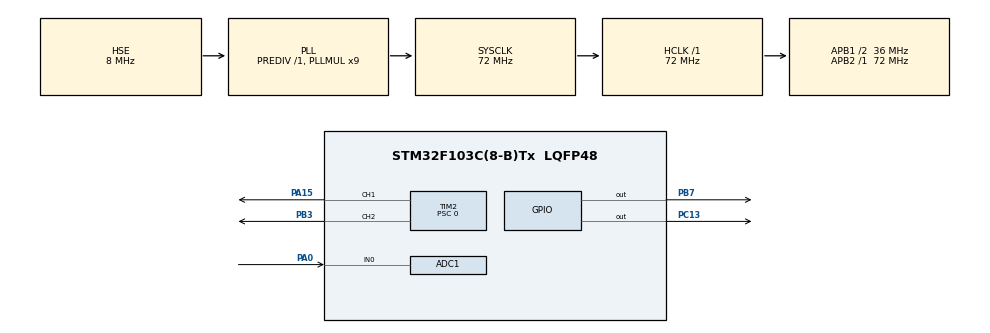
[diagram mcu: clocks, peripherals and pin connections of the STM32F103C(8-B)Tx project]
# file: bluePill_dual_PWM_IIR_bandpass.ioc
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ADC1.Channel-1\#ChannelRegularConversion=ADC_CHANNEL_0
ADC1.ExternalTrigConv=ADC_EXTERNALTRIGCONV_T3_TRGO
ADC1.NbrOfConversionFlag=1
ADC1.Rank-1\#ChannelRegularConversion=1
ADC1.SamplingTime-1\#ChannelRegularConversion=ADC_SAMPLETIME_71CYCLES_5
ADC1.master=1
Dma.ADC1.0.Direction=DMA_PERIPH_TO_MEMORY
Dma.ADC1.0.Instance=DMA1_Channel1
Dma.ADC1.0.MemDataAlignment=DMA_MDATAALIGN_HALFWORD
Dma.ADC1.0.MemInc=DMA_MINC_ENABLE
Dma.ADC1.0.Mode=DMA_CIRCULAR
Dma.ADC1.0.PeriphDataAlignment=DMA_PDATAALIGN_HALFWORD
Dma.ADC1.0.PeriphInc=DMA_PINC_DISABLE
Dma.ADC1.0.Priority=DMA_PRIORITY_LOW
Dma.Request0=ADC1
Mcu.Family=STM32F1
Mcu.Name=STM32F103C(8-B)Tx
Mcu.Package=LQFP48
NVIC.DMA1_Channel1_IRQn=true\:1\:0\:true\:false\:true\:false\:true\:true
NVIC.PriorityGroup=NVIC_PRIORITYGROUP_4
NVIC.TIM3_IRQn=true\:14\:0\:true\:false\:true\:true\:true\:true
PA0-WKUP.Signal=ADCx_IN0
PA13.Mode=Serial_Wire
PA13.Signal=SYS_JTMS-SWDIO
PA14.Mode=Serial_Wire
PA14.Signal=SYS_JTCK-SWCLK
PA15.Signal=S_TIM2_CH1_ETR
PB3.Signal=S_TIM2_CH2
PB7.Signal=GPIO_Output
PC13-TAMPER-RTC.Signal=GPIO_Output
PC14-OSC32_IN.Mode=LSE-External-Oscillator
PC14-OSC32_IN.Signal=RCC_OSC32_IN
PC15-OSC32_OUT.Mode=LSE-External-Oscillator
PC15-OSC32_OUT.Signal=RCC_OSC32_OUT
PD0-OSC_IN.Mode=HSE-External-Oscillator
PD0-OSC_IN.Signal=RCC_OSC_IN
PD1-OSC_OUT.Mode=HSE-External-Oscillator
PD1-OSC_OUT.Signal=RCC_OSC_OUT
ProjectManager.HeapSize=0x200
ProjectManager.StackSize=0x400
ProjectManager.TargetToolchain=STM32CubeIDE
RCC.ADCPresc=RCC_ADCPCLK2_DIV6
RCC.AHBFreq_Value=72000000
RCC.APB1CLKDivider=RCC_HCLK_DIV2
RCC.APB1Freq_Value=36000000
RCC.APB1TimFreq_Value=72000000
RCC.APB2Freq_Value=72000000
RCC.APB2TimFreq_Value=72000000
RCC.HCLKFreq_Value=72000000
RCC.PLLMUL=RCC_PLL_MUL9
RCC.PLLSourceVirtual=RCC_PLLSOURCE_HSE
RCC.SYSCLKFreq_VALUE=72000000
RCC.SYSCLKSource=RCC_SYSCLKSOURCE_PLLCLK
RCC.USBFreq_Value=48000000
RCC.USBPrescaler=RCC_USBCLKSOURCE_PLL_DIV1_5
SH.ADCx_IN0.0=ADC1_IN0,IN0
SH.S_TIM2_CH1_ETR.0=TIM2_CH1,PWM Generation1 CH1
SH.S_TIM2_CH2.0=TIM2_CH2,PWM Generation2 CH2
TIM2.Channel-PWM\ Generation1\ CH1=TIM_CHANNEL_1
TIM2.Channel-PWM\ Generation2\ CH2=TIM_CHANNEL_2
TIM2.Period=63
TIM2.Prescaler=0
TIM2.Pulse-PWM\ Generation1\ CH1=0
TIM2.TIM_MasterOutputTrigger=TIM_TRGO_RESET
TIM3.Channel-PWM\ Generation1\ No\ Output=TIM_CHANNEL_1
TIM3.Period=2999
TIM3.Prescaler=0
TIM3.TIM_MasterOutputTrigger=TIM_TRGO_UPDATE
VP_TIM2_VS_ClockSourceINT.Mode=Internal
VP_TIM3_VS_ClockSourceINT.Mode=Internal
VP_TIM3_VS_no_output1.Mode=PWM Generation1 No Output
board=custom

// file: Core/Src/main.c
/* USER CODE BEGIN Header */
/**
 ******************************************************************************
 * @file           : main.c
 * @brief          : Main program body
 ******************************************************************************
 * @attention
 *
 * Copyright (c) 2024 STMicroelectronics.
 * All rights reserved.
 *
 * This software is licensed under terms that can be found in the LICENSE file
 * in the root directory of this software component.
 * If no LICENSE file comes with this software, it is provided AS-IS.
 *
 ******************************************************************************
 */
/* USER CODE END Header */
#include "main.h"

/* USER CODE BEGIN Includes */
#include <stdbool.h>
#include "arm_math.h"
/* USER CODE END Includes */

/* USER CODE BEGIN PD */
#define BUFFER_SIZE 256
#define NUM_TAPS 32
/* USER CODE END PD */

ADC_HandleTypeDef hadc1;
DMA_HandleTypeDef hdma_adc1;

TIM_HandleTypeDef htim2;
TIM_HandleTypeDef htim3;

/* USER CODE BEGIN PV */
uint16_t adc_buffer[BUFFER_SIZE];
uint16_t dac_buffer[BUFFER_SIZE];

volatile uint16_t curr_sample_pos;
bool processLowerBuffer;
bool processUpperBuffer;

arm_fir_instance_q15 filter1;
q15_t filter1_state[(BUFFER_SIZE / 2) + NUM_TAPS - 1];
q15_t filter1_coeffs[NUM_TAPS] = {
		-553, -725, -881, -995, -1037, -981, -808,
		-510, -93, 421, 998, 1593, 2154, 2631, 2977, 3159, 3159, 2977, 2631,
		2154, 1593, 998, 421, -93, -510, -808, -981, -1037, -995, -881, -725,
		-553
};

q15_t filter1_in[BUFFER_SIZE];
q15_t filter1_out[BUFFER_SIZE];
q15_t *filter1_in_ptr = &filter1_in[0];
q15_t *filter1_out_ptr = &filter1_out[0];
/* USER CODE END PV */

void SystemClock_Config(void);
static void MX_GPIO_Init(void);
static void MX_DMA_Init(void);
static void MX_ADC1_Init(void);
static void MX_TIM3_Init(void);
static void MX_TIM2_Init(void);

int main(void) {

	/* USER CODE BEGIN 1 */
	//Clearing the buffers
	for (uint16_t i = 0; i < BUFFER_SIZE; i++) {
		adc_buffer[i] = 0;
		dac_buffer[i] = 0;
	}

	//Setting the index of the current position to the second half
	curr_sample_pos = BUFFER_SIZE / 2;

	//Resetting flags
	processLowerBuffer = false;
	processUpperBuffer = false;

	arm_fir_init_q15(&filter1, NUM_TAPS, &filter1_coeffs[0], &filter1_state[0],
	BUFFER_SIZE / 2);

	/* USER CODE END 1 */

	/* MCU Configuration--------------------------------------------------------*/

	/* Reset of all peripherals, Initializes the Flash interface and the Systick. */
	HAL_Init();

	/* Configure the system clock */
	SystemClock_Config();

	/* Initialize all configured peripherals */
	MX_GPIO_Init();
	MX_DMA_Init();
	MX_ADC1_Init();
	MX_TIM3_Init();
	MX_TIM2_Init();
	/* USER CODE BEGIN 2 */

	//Turning off the LED (inversed)
	HAL_GPIO_WritePin(GPIOC, GPIO_PIN_13, 1);

	//Turning off help GPIO
	HAL_GPIO_WritePin(GPIOB, GPIO_PIN_7, 0);

	//Starting the ADC module
	HAL_ADC_Start_DMA(&hadc1, (uint32_t*) adc_buffer, BUFFER_SIZE);

	//Starting TIM3 with interrupts
	HAL_TIM_Base_Start_IT(&htim3);

	//Starting TIM2
	HAL_TIM_PWM_Start(&htim2, TIM_CHANNEL_1);
	HAL_TIM_PWM_Start(&htim2, TIM_CHANNEL_2);

	/* USER CODE END 2 */

	/* Infinite loop */
	/* USER CODE BEGIN WHILE */
	while (1) {
		//Processing the lower half of the ADC's buffer if flag was set
		if (processLowerBuffer == true) {
			HAL_GPIO_WritePin(GPIOB, GPIO_PIN_7, 1);

			for (uint16_t i = 0; i < BUFFER_SIZE / 2; i++) {
				filter1_in[i] = (q15_t) ((adc_buffer[i] * 32767) / 4095);
			}

			arm_fir_fast_q15(&filter1, filter1_in_ptr, filter1_out_ptr,
			BUFFER_SIZE / 2);

			for (uint16_t i = 0; i < BUFFER_SIZE / 2; i++) {
				dac_buffer[i] = (uint16_t) (((filter1_out[i] + 32768) * 4095)
						/ 65535);
			}

			processLowerBuffer = false;

			HAL_GPIO_WritePin(GPIOB, GPIO_PIN_7, 0);
		}

		//Processing the upper half of the ADC's buffer if flag was set
		if (processUpperBuffer == true) {
			HAL_GPIO_WritePin(GPIOB, GPIO_PIN_7, 1);

			for (uint16_t i = BUFFER_SIZE / 2; i < BUFFER_SIZE; i++) {
				filter1_in[i] = (q15_t) ((adc_buffer[i] * 32767) / 4095);
			}

			arm_fir_fast_q15(&filter1, filter1_in_ptr + (BUFFER_SIZE / 2),
					filter1_out_ptr + (BUFFER_SIZE / 2), BUFFER_SIZE / 2);

			for (uint16_t i = BUFFER_SIZE / 2; i < BUFFER_SIZE; i++) {
				dac_buffer[i] = (uint16_t) (((filter1_out[i] + 32768) * 4095)
						/ 65535);
			}

			processUpperBuffer = false;

			HAL_GPIO_WritePin(GPIOB, GPIO_PIN_7, 0);
		}
		/* USER CODE END WHILE */

	}
}

void SystemClock_Config(void) {
	RCC_OscInitTypeDef RCC_OscInitStruct = { 0 };
	RCC_ClkInitTypeDef RCC_ClkInitStruct = { 0 };
	RCC_PeriphCLKInitTypeDef PeriphClkInit = { 0 };

	/** Initializes the RCC Oscillators according to the specified parameters
	 * in the RCC_OscInitTypeDef structure.
	 */
	RCC_OscInitStruct.OscillatorType = RCC_OSCILLATORTYPE_HSE;
	RCC_OscInitStruct.HSEState = RCC_HSE_ON;
	RCC_OscInitStruct.HSEPredivValue = RCC_HSE_PREDIV_DIV1;
	RCC_OscInitStruct.HSIState = RCC_HSI_ON;
	RCC_OscInitStruct.PLL.PLLState = RCC_PLL_ON;
	RCC_OscInitStruct.PLL.PLLSource = RCC_PLLSOURCE_HSE;
	RCC_OscInitStruct.PLL.PLLMUL = RCC_PLL_MUL9;
	if (HAL_RCC_OscConfig(&RCC_OscInitStruct) != HAL_OK) {
		Error_Handler();
	}

	/** Initializes the CPU, AHB and APB buses clocks
	 */
	RCC_ClkInitStruct.ClockType = RCC_CLOCKTYPE_HCLK | RCC_CLOCKTYPE_SYSCLK
			| RCC_CLOCKTYPE_PCLK1 | RCC_CLOCKTYPE_PCLK2;
	RCC_ClkInitStruct.SYSCLKSource = RCC_SYSCLKSOURCE_PLLCLK;
	RCC_ClkInitStruct.AHBCLKDivider = RCC_SYSCLK_DIV1;
	RCC_ClkInitStruct.APB1CLKDivider = RCC_HCLK_DIV2;
	RCC_ClkInitStruct.APB2CLKDivider = RCC_HCLK_DIV1;

	if (HAL_RCC_ClockConfig(&RCC_ClkInitStruct, FLASH_LATENCY_2) != HAL_OK) {
		Error_Handler();
	}
	PeriphClkInit.PeriphClockSelection = RCC_PERIPHCLK_ADC;
	PeriphClkInit.AdcClockSelection = RCC_ADCPCLK2_DIV6;
	if (HAL_RCCEx_PeriphCLKConfig(&PeriphClkInit) != HAL_OK) {
		Error_Handler();
	}
}

static void MX_ADC1_Init(void) {

	ADC_ChannelConfTypeDef sConfig = { 0 };

	/** Common config
	 */
	hadc1.Instance = ADC1;
	hadc1.Init.ScanConvMode = ADC_SCAN_DISABLE;
	hadc1.Init.ContinuousConvMode = DISABLE;
	hadc1.Init.DiscontinuousConvMode = DISABLE;
	hadc1.Init.ExternalTrigConv = ADC_EXTERNALTRIGCONV_T3_TRGO;
	hadc1.Init.DataAlign = ADC_DATAALIGN_RIGHT;
	hadc1.Init.NbrOfConversion = 1;
	if (HAL_ADC_Init(&hadc1) != HAL_OK) {
		Error_Handler();
	}

	/** Configure Regular Channel
	 */
	sConfig.Channel = ADC_CHANNEL_0;
	sConfig.Rank = ADC_REGULAR_RANK_1;
	sConfig.SamplingTime = ADC_SAMPLETIME_71CYCLES_5;
	if (HAL_ADC_ConfigChannel(&hadc1, &sConfig) != HAL_OK) {
		Error_Handler();
	}

}

static void MX_TIM2_Init(void) {

	TIM_ClockConfigTypeDef sClockSourceConfig = { 0 };
	TIM_MasterConfigTypeDef sMasterConfig = { 0 };
	TIM_OC_InitTypeDef sConfigOC = { 0 };

	htim2.Instance = TIM2;
	htim2.Init.Prescaler = 0;
	htim2.Init.CounterMode = TIM_COUNTERMODE_UP;
	htim2.Init.Period = 63;
	htim2.Init.ClockDivision = TIM_CLOCKDIVISION_DIV1;
	htim2.Init.AutoReloadPreload = TIM_AUTORELOAD_PRELOAD_DISABLE;
	if (HAL_TIM_Base_Init(&htim2) != HAL_OK) {
		Error_Handler();
	}
	sClockSourceConfig.ClockSource = TIM_CLOCKSOURCE_INTERNAL;
	if (HAL_TIM_ConfigClockSource(&htim2, &sClockSourceConfig) != HAL_OK) {
		Error_Handler();
	}
	if (HAL_TIM_PWM_Init(&htim2) != HAL_OK) {
		Error_Handler();
	}
	sMasterConfig.MasterOutputTrigger = TIM_TRGO_RESET;
	sMasterConfig.MasterSlaveMode = TIM_MASTERSLAVEMODE_DISABLE;
	if (HAL_TIMEx_MasterConfigSynchronization(&htim2, &sMasterConfig)
			!= HAL_OK) {
		Error_Handler();
	}
	sConfigOC.OCMode = TIM_OCMODE_PWM1;
	sConfigOC.Pulse = 0;
	sConfigOC.OCPolarity = TIM_OCPOLARITY_HIGH;
	sConfigOC.OCFastMode = TIM_OCFAST_DISABLE;
	if (HAL_TIM_PWM_ConfigChannel(&htim2, &sConfigOC, TIM_CHANNEL_1)
			!= HAL_OK) {
		Error_Handler();
	}
	if (HAL_TIM_PWM_ConfigChannel(&htim2, &sConfigOC, TIM_CHANNEL_2)
			!= HAL_OK) {
		Error_Handler();
	}
	HAL_TIM_MspPostInit(&htim2);

}

static void MX_TIM3_Init(void) {

	TIM_ClockConfigTypeDef sClockSourceConfig = { 0 };
	TIM_MasterConfigTypeDef sMasterConfig = { 0 };
	TIM_OC_InitTypeDef sConfigOC = { 0 };

	htim3.Instance = TIM3;
	htim3.Init.Prescaler = 0;
	htim3.Init.CounterMode = TIM_COUNTERMODE_UP;
	htim3.Init.Period = 2999;
	htim3.Init.ClockDivision = TIM_CLOCKDIVISION_DIV1;
	htim3.Init.AutoReloadPreload = TIM_AUTORELOAD_PRELOAD_DISABLE;
	if (HAL_TIM_Base_Init(&htim3) != HAL_OK) {
		Error_Handler();
	}
	sClockSourceConfig.ClockSource = TIM_CLOCKSOURCE_INTERNAL;
	if (HAL_TIM_ConfigClockSource(&htim3, &sClockSourceConfig) != HAL_OK) {
		Error_Handler();
	}
	if (HAL_TIM_PWM_Init(&htim3) != HAL_OK) {
		Error_Handler();
	}
	sMasterConfig.MasterOutputTrigger = TIM_TRGO_UPDATE;
	sMasterConfig.MasterSlaveMode = TIM_MASTERSLAVEMODE_DISABLE;
	if (HAL_TIMEx_MasterConfigSynchronization(&htim3, &sMasterConfig)
			!= HAL_OK) {
		Error_Handler();
	}
	sConfigOC.OCMode = TIM_OCMODE_PWM1;
	sConfigOC.Pulse = 0;
	sConfigOC.OCPolarity = TIM_OCPOLARITY_HIGH;
	sConfigOC.OCFastMode = TIM_OCFAST_DISABLE;
	if (HAL_TIM_PWM_ConfigChannel(&htim3, &sConfigOC, TIM_CHANNEL_1)
			!= HAL_OK) {
		Error_Handler();
	}

}

static void MX_DMA_Init(void) {

	/* DMA controller clock enable */
	__HAL_RCC_DMA1_CLK_ENABLE();

	/* DMA interrupt init */
	/* DMA1_Channel1_IRQn interrupt configuration */
	HAL_NVIC_SetPriority(DMA1_Channel1_IRQn, 1, 0);
	HAL_NVIC_EnableIRQ(DMA1_Channel1_IRQn);

}

static void MX_GPIO_Init(void) {
	GPIO_InitTypeDef GPIO_InitStruct = { 0 };

	/* GPIO Ports Clock Enable */
	__HAL_RCC_GPIOC_CLK_ENABLE();
	__HAL_RCC_GPIOD_CLK_ENABLE();
	__HAL_RCC_GPIOA_CLK_ENABLE();
	__HAL_RCC_GPIOB_CLK_ENABLE();

	/*Configure GPIO pin Output Level */
	HAL_GPIO_WritePin(GPIOC, GPIO_PIN_13, GPIO_PIN_RESET);

	/*Configure GPIO pin Output Level */
	HAL_GPIO_WritePin(GPIOB, GPIO_PIN_7, GPIO_PIN_RESET);

	/*Configure GPIO pin : PC13 */
	GPIO_InitStruct.Pin = GPIO_PIN_13;
	GPIO_InitStruct.Mode = GPIO_MODE_OUTPUT_PP;
	GPIO_InitStruct.Pull = GPIO_NOPULL;
	GPIO_InitStruct.Speed = GPIO_SPEED_FREQ_LOW;
	HAL_GPIO_Init(GPIOC, &GPIO_InitStruct);

	/*Configure GPIO pin : PB7 */
	GPIO_InitStruct.Pin = GPIO_PIN_7;
	GPIO_InitStruct.Mode = GPIO_MODE_OUTPUT_PP;
	GPIO_InitStruct.Pull = GPIO_NOPULL;
	GPIO_InitStruct.Speed = GPIO_SPEED_FREQ_LOW;
	HAL_GPIO_Init(GPIOB, &GPIO_InitStruct);

}

/* USER CODE BEGIN 4 */
void HAL_TIM_PeriodElapsedCallback(TIM_HandleTypeDef *htim) {
	if (htim->Instance == TIM3) {
		//Incrementing the position of the current sample
		curr_sample_pos++;
		//Wrapping around if end of the ADC buffer was reached
		if (curr_sample_pos >= BUFFER_SIZE) {
			curr_sample_pos = 0;
		}

		//Setting the output sample's upper six bits to CCR1 (channel 1) and the lower six bits to CCR2 (channel 2)
		htim2.Instance->CCR1 = (dac_buffer[curr_sample_pos] & 0xFC0) >> 6;
		htim2.Instance->CCR2 = dac_buffer[curr_sample_pos] & 0xF3;

		//Setting flag for processing the lower half of the ADC's buffer
		if (curr_sample_pos == BUFFER_SIZE / 2) {
			processLowerBuffer = true;
			return;
		}

		//Setting flag for processing the upper half of the ADC's buffer
		if (curr_sample_pos == BUFFER_SIZE - 1) {
			processUpperBuffer = true;
			return;
		}
	}
}

/*
 void HAL_ADC_ConvHalfCpltCallback(ADC_HandleTypeDef* hadc)
 {

 }

 void HAL_ADC_ConvCpltCallback(ADC_HandleTypeDef* hadc)
 {

 }
 */
/* USER CODE END 4 */

void Error_Handler(void) {
	__disable_irq();
	while (1) {
	}
}
